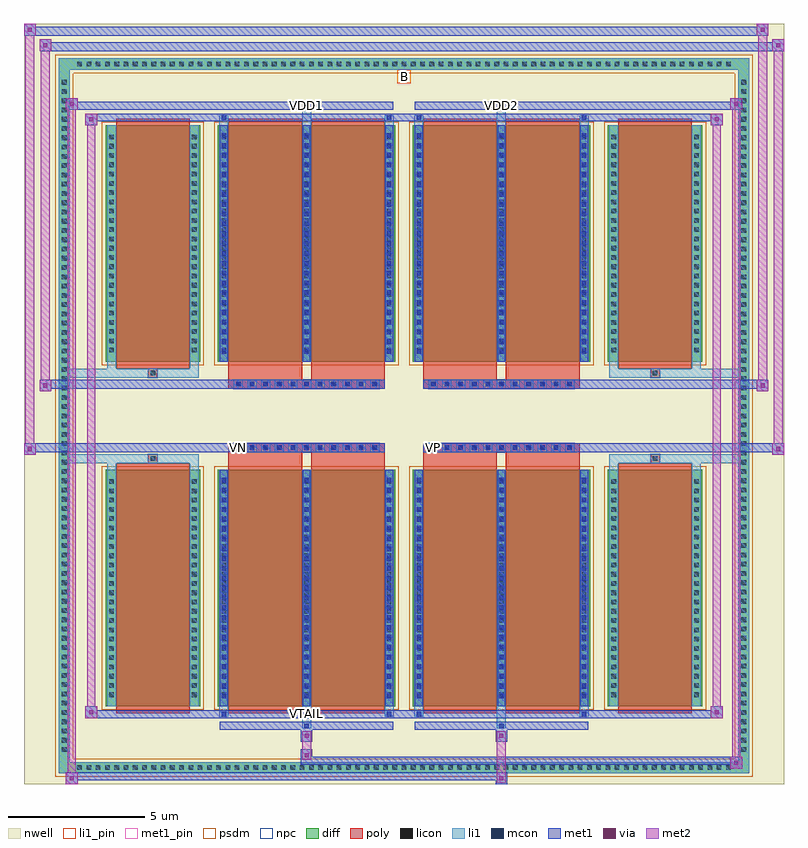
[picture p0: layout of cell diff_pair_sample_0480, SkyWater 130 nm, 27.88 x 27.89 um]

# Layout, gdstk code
import gdstk
lib = gdstk.Library(unit=1e-6, precision=5e-09)
def R(c, l, rs):  # rectangles x0, y0, x1, y1
    for r in rs: c.add(gdstk.rectangle(r[:2], r[2:], *l))
def A(c, l, x, y, w, h, nx, ny, dx, dy):  # array of equal rectangles
    R(c, l, [(x+i*dx, y+j*dy, x+i*dx+w, y+j*dy+h) for i in range(nx) for j in range(ny)])
def P(c, l, *ps):  # polygons
    for p in ps: c.add(gdstk.Polygon(p, *l))
nwell = (64, 20)
diff = (65, 20)
poly = (66, 20)
licon = (66, 44)
li1_pin = (67, 16)
li1 = (67, 20)
mcon = (67, 44)
met1_pin = (68, 16)
met1 = (68, 20)
via = (68, 44)
met2 = (69, 20)
psdm = (94, 20)
npc = (95, 20)

diff_pair_sample_0480 = lib.new_cell('diff_pair_sample_0480')
R(diff_pair_sample_0480, nwell, [(-13.94,-13.51,13.94,14.38), (-11.26,-11.7,-0.01,-0.8), (0.01,-11.7,11.26,-0.8), (-11.26,0.8,-0.01,11.7), (0.01,0.8,11.26,11.7)])
A(diff_pair_sample_0480, diff, -12.105, -13.11, 0.41, 0.41, 71, 2, 0.34, 25.81)
A(diff_pair_sample_0480, diff, -12.67, -12.445, 0.41, 0.41, 1, 73, 0, 0.34)
A(diff_pair_sample_0480, diff, 12.26, -12.445, 0.41, 0.41, 1, 73, 0, 0.34)
R(diff_pair_sample_0480, diff, [(-12.105,-13.11,12.105,-12.7), (-12.67,-12.445,-12.26,12.445), (12.26,-12.445,12.67,12.445), (-10.95,-10.655,-7.47,-1.985), (-6.83,-10.655,-0.32,-1.985), (0.32,-10.655,6.83,-1.985), (7.47,-10.655,10.95,-1.985), (-10.95,1.985,-7.47,10.655), (-6.83,1.985,-0.32,10.655), (0.32,1.985,6.83,10.655), (7.47,1.985,10.95,10.655), (-12.105,12.7,12.105,13.11)])
P(diff_pair_sample_0480, diff, [(12.67,13.11),(-12.67,13.11),(-12.67,-12.7),(-12.26,-12.7),(-12.26,12.7),(12.26,12.7),(12.26,-12.7),(-12.26,-12.7),(-12.67,-12.7),(-12.67,-13.11),(12.67,-13.11)])
A(diff_pair_sample_0480, poly, -6.24, -1.33, 0.33, 0.33, 11, 2, 0.5, 2.33)
A(diff_pair_sample_0480, poly, 0.91, -1.33, 0.33, 0.33, 11, 2, 0.5, 2.33)
R(diff_pair_sample_0480, poly, [(-10.56,-10.905,-7.86,-1.735), (-6.44,-10.905,-3.74,-1.735), (-3.41,-10.905,-0.71,-1.735), (0.71,-10.905,3.41,-1.735), (3.74,-10.905,6.44,-1.735), (7.86,-10.905,10.56,-1.735), (-9.375,-1.735,-9.045,-1.405), (-9.375,-1.735,-9.045,-1.405), (-6.44,-1.735,-3.74,-1.33), (-3.41,-1.735,-0.71,-1.33), (0.71,-1.735,3.41,-1.33), (3.74,-1.735,6.44,-1.33), (9.045,-1.735,9.375,-1.405), (9.045,-1.735,9.375,-1.405), (-6.44,-1.33,-0.71,-1), (0.71,-1.33,6.44,-1), (-6.44,1,-0.71,1.33), (0.71,1,6.44,1.33), (-6.44,1.33,-3.74,1.735), (-3.41,1.33,-0.71,1.735), (0.71,1.33,3.41,1.735), (3.74,1.33,6.44,1.735), (-9.375,1.405,-9.045,1.735), (-9.375,1.405,-9.045,1.735), (9.045,1.405,9.375,1.735), (9.045,1.405,9.375,1.735), (-10.56,1.735,-7.86,10.905), (-6.44,1.735,-3.74,10.905), (-3.41,1.735,-0.71,10.905), (0.71,1.735,3.41,10.905), (3.74,1.735,6.44,10.905), (7.86,1.735,10.56,10.905)])
A(diff_pair_sample_0480, licon, -11.985, -12.99, 0.17, 0.17, 71, 2, 0.34, 25.81)
A(diff_pair_sample_0480, licon, -12.55, -12.325, 0.17, 0.17, 1, 73, 0, 0.34)
A(diff_pair_sample_0480, licon, 12.38, -12.325, 0.17, 0.17, 1, 73, 0, 0.34)
A(diff_pair_sample_0480, licon, -10.81, -10.315, 0.17, 0.17, 1, 24, 0, 0.34)
A(diff_pair_sample_0480, licon, -7.78, -10.315, 0.17, 0.17, 1, 24, 0, 0.34)
A(diff_pair_sample_0480, licon, -6.69, -10.315, 0.17, 0.17, 3, 24, 3.03, 0.34)
A(diff_pair_sample_0480, licon, 0.46, -10.315, 0.17, 0.17, 3, 24, 3.03, 0.34)
A(diff_pair_sample_0480, licon, 7.61, -10.315, 0.17, 0.17, 1, 24, 0, 0.34)
A(diff_pair_sample_0480, licon, 10.64, -10.315, 0.17, 0.17, 1, 24, 0, 0.34)
A(diff_pair_sample_0480, licon, -6.16, -1.25, 0.17, 0.17, 11, 2, 0.5, 2.33)
A(diff_pair_sample_0480, licon, 0.99, -1.25, 0.17, 0.17, 11, 2, 0.5, 2.33)
A(diff_pair_sample_0480, licon, -10.81, 2.325, 0.17, 0.17, 1, 24, 0, 0.34)
A(diff_pair_sample_0480, licon, -7.78, 2.325, 0.17, 0.17, 1, 24, 0, 0.34)
A(diff_pair_sample_0480, licon, -6.69, 2.325, 0.17, 0.17, 3, 24, 3.03, 0.34)
A(diff_pair_sample_0480, licon, 0.46, 2.325, 0.17, 0.17, 3, 24, 3.03, 0.34)
A(diff_pair_sample_0480, licon, 7.61, 2.325, 0.17, 0.17, 1, 24, 0, 0.34)
A(diff_pair_sample_0480, licon, 10.64, 2.325, 0.17, 0.17, 1, 24, 0, 0.34)
R(diff_pair_sample_0480, licon, [(-9.295,-1.655,-9.125,-1.485), (9.125,-1.655,9.295,-1.485), (-9.295,1.485,-9.125,1.655), (9.125,1.485,9.295,1.655)])
R(diff_pair_sample_0480, li1_pin, [(-0.25,12.2,0.25,12.7)])
A(diff_pair_sample_0480, li1, -12.065, -13.07, 0.33, 0.33, 71, 2, 0.34, 25.81)
A(diff_pair_sample_0480, li1, -12.63, -12.405, 0.33, 0.33, 1, 73, 0, 0.34)
A(diff_pair_sample_0480, li1, 12.3, -12.405, 0.33, 0.33, 1, 73, 0, 0.34)
A(diff_pair_sample_0480, li1, -6.77, -10.655, 0.33, 8.67, 3, 2, 3.03, 12.64)
A(diff_pair_sample_0480, li1, 0.38, -10.655, 0.33, 8.67, 3, 2, 3.03, 12.64)
A(diff_pair_sample_0480, li1, -10.89, -10.395, 0.33, 0.33, 1, 24, 0, 0.34)
A(diff_pair_sample_0480, li1, -7.86, -10.395, 0.33, 0.33, 1, 24, 0, 0.34)
A(diff_pair_sample_0480, li1, -6.77, -10.395, 0.33, 0.33, 3, 24, 3.03, 0.34)
A(diff_pair_sample_0480, li1, 0.38, -10.395, 0.33, 0.33, 3, 24, 3.03, 0.34)
A(diff_pair_sample_0480, li1, 7.53, -10.395, 0.33, 0.33, 1, 24, 0, 0.34)
A(diff_pair_sample_0480, li1, 10.56, -10.395, 0.33, 0.33, 1, 24, 0, 0.34)
A(diff_pair_sample_0480, li1, -6.69, -10.365, 0.17, 0.17, 3, 23, 3.03, 0.36)
A(diff_pair_sample_0480, li1, -6.69, -10.365, 0.17, 8.09, 3, 2, 3.03, 12.64)
A(diff_pair_sample_0480, li1, 0.46, -10.365, 0.17, 0.17, 3, 23, 3.03, 0.36)
A(diff_pair_sample_0480, li1, 0.46, -10.365, 0.17, 8.09, 3, 2, 3.03, 12.64)
A(diff_pair_sample_0480, li1, -6.24, -1.33, 0.33, 0.33, 11, 2, 0.5, 2.33)
A(diff_pair_sample_0480, li1, 0.91, -1.33, 0.33, 0.33, 11, 2, 0.5, 2.33)
A(diff_pair_sample_0480, li1, -10.89, 2.245, 0.33, 0.33, 1, 24, 0, 0.34)
A(diff_pair_sample_0480, li1, -7.86, 2.245, 0.33, 0.33, 1, 24, 0, 0.34)
A(diff_pair_sample_0480, li1, -6.77, 2.245, 0.33, 0.33, 3, 24, 3.03, 0.34)
A(diff_pair_sample_0480, li1, 0.38, 2.245, 0.33, 0.33, 3, 24, 3.03, 0.34)
A(diff_pair_sample_0480, li1, 7.53, 2.245, 0.33, 0.33, 1, 24, 0, 0.34)
A(diff_pair_sample_0480, li1, 10.56, 2.245, 0.33, 0.33, 1, 24, 0, 0.34)
A(diff_pair_sample_0480, li1, -6.69, 2.275, 0.17, 0.17, 3, 23, 3.03, 0.36)
A(diff_pair_sample_0480, li1, 0.46, 2.275, 0.17, 0.17, 3, 23, 3.03, 0.36)
R(diff_pair_sample_0480, li1, [(-12.67,-13.11,-12.26,-12.7), (-12.67,-13.11,-12.26,-12.7), (-12.26,-13.11,12.26,-12.7), (12.26,-13.11,12.67,-12.7), (12.26,-13.11,12.67,-12.7), (-12.67,-12.7,-12.26,12.7), (12.26,-12.7,12.67,12.7), (-3.74,-11.46,-3.41,-10.655), (-3.66,-11.46,-3.49,-11.29), (3.41,-11.46,3.74,-10.655), (3.49,-11.46,3.66,-11.29), (-6.77,-11.03,-6.44,-10.655), (-6.69,-11.03,-6.52,-10.86), (-0.71,-11.03,-0.38,-10.655), (-0.63,-11.03,-0.46,-10.86), (0.38,-11.03,0.71,-10.655), (0.46,-11.03,0.63,-10.86), (6.44,-11.03,6.77,-10.655), (6.52,-11.03,6.69,-10.86), (-10.89,-10.655,-10.56,-1.985), (-7.86,-10.655,-7.53,-1.985), (7.53,-10.655,7.86,-1.985), (10.56,-10.655,10.89,-1.985), (-10.89,-1.985,-10.56,-1.405), (-7.86,-1.985,-7.53,-1.405), (7.53,-1.985,7.86,-1.405), (10.56,-1.985,10.89,-1.405), (-12.67,-1.735,-9.375,-1.405), (-10.89,-1.735,-9.375,-1.405), (-9.375,-1.735,-9.045,-1.405), (-9.045,-1.735,-7.53,-1.405), (7.53,-1.735,9.045,-1.405), (9.045,-1.735,9.375,-1.405), (9.045,-1.735,12.67,-1.405), (9.375,-1.735,10.89,-1.405), (-12.67,1.405,-9.375,1.735), (-10.89,1.405,-9.375,1.735), (-10.89,1.405,-10.56,1.985), (-9.375,1.405,-9.045,1.735), (-9.045,1.405,-7.53,1.735), (-7.86,1.405,-7.53,1.985), (7.53,1.405,9.045,1.735), (7.53,1.405,7.86,1.985), (9.045,1.405,9.375,1.735), (9.045,1.405,12.67,1.735), (9.375,1.405,10.89,1.735), (10.56,1.405,10.89,1.985), (-10.89,1.985,-10.56,10.655), (-7.86,1.985,-7.53,10.655), (7.53,1.985,7.86,10.655), (10.56,1.985,10.89,10.655), (-6.77,10.655,-6.44,11.03), (-3.74,10.655,-3.41,11.46), (-0.71,10.655,-0.38,11.03), (0.38,10.655,0.71,11.03), (3.41,10.655,3.74,11.46), (6.44,10.655,6.77,11.03), (-6.69,10.86,-6.52,11.03), (-0.63,10.86,-0.46,11.03), (0.46,10.86,0.63,11.03), (6.52,10.86,6.69,11.03), (-3.66,11.29,-3.49,11.46), (3.49,11.29,3.66,11.46), (-12.67,12.7,-12.26,13.11), (-12.67,12.7,-12.26,13.11), (-12.26,12.7,12.26,13.11), (12.26,12.7,12.67,13.11), (12.26,12.7,12.67,13.11)])
A(diff_pair_sample_0480, mcon, -6.69, -10.365, 0.17, 0.17, 3, 23, 3.03, 0.36)
A(diff_pair_sample_0480, mcon, 0.46, -10.365, 0.17, 0.17, 3, 23, 3.03, 0.36)
A(diff_pair_sample_0480, mcon, -6.16, -1.25, 0.17, 0.17, 11, 2, 0.5, 2.33)
A(diff_pair_sample_0480, mcon, 0.99, -1.25, 0.17, 0.17, 11, 2, 0.5, 2.33)
A(diff_pair_sample_0480, mcon, -6.69, 2.275, 0.17, 0.17, 3, 23, 3.03, 0.36)
A(diff_pair_sample_0480, mcon, 0.46, 2.275, 0.17, 0.17, 3, 23, 3.03, 0.36)
R(diff_pair_sample_0480, mcon, [(-3.66,-11.46,-3.49,-11.29), (3.49,-11.46,3.66,-11.29), (-6.69,-11.03,-6.52,-10.86), (-0.63,-11.03,-0.46,-10.86), (0.46,-11.03,0.63,-10.86), (6.52,-11.03,6.69,-10.86), (-6.69,10.86,-6.52,11.03), (-0.63,10.86,-0.46,11.03), (0.46,10.86,0.63,11.03), (6.52,10.86,6.69,11.03), (-3.66,11.29,-3.49,11.46), (3.49,11.29,3.66,11.46)])
R(diff_pair_sample_0480, met1_pin, [(-3.71,-11.07,-3.44,-10.8), (-6.21,-1.29,-5.94,-1.02), (0.94,-1.29,1.21,-1.02), (-3.71,11.25,-3.44,11.52), (3.44,11.25,3.71,11.52)])
A(diff_pair_sample_0480, met1, -6.75, -10.655, 0.29, 8.67, 3, 2, 3.03, 12.64)
A(diff_pair_sample_0480, met1, 0.4, -10.655, 0.29, 8.67, 3, 2, 3.03, 12.64)
A(diff_pair_sample_0480, met1, -6.75, -10.425, 0.29, 0.29, 3, 23, 3.03, 0.36)
A(diff_pair_sample_0480, met1, 0.4, -10.425, 0.29, 0.29, 3, 23, 3.03, 0.36)
A(diff_pair_sample_0480, met1, -6.22, -1.31, 0.29, 0.29, 11, 2, 0.5, 2.33)
A(diff_pair_sample_0480, met1, 0.93, -1.31, 0.29, 0.29, 11, 2, 0.5, 2.33)
A(diff_pair_sample_0480, met1, -6.75, 2.215, 0.29, 0.29, 3, 23, 3.03, 0.36)
A(diff_pair_sample_0480, met1, 0.4, 2.215, 0.29, 0.29, 3, 23, 3.03, 0.36)
R(diff_pair_sample_0480, met1, [(-12.4,-13.51,-11.97,-13.08), (3.36,-13.51,3.79,-13.08), (-12.4,-13.37,3.79,-13.08), (11.97,-12.94,12.4,-12.51), (-3.79,-12.8,12.4,-12.51), (-3.79,-12.66,-3.36,-12.23), (-3.79,-11.95,-3.36,-11.52), (3.36,-11.95,3.79,-11.52), (-6.75,-11.52,-0.4,-11.23), (-3.72,-11.52,-3.43,-11.23), (0.4,-11.52,6.75,-11.23), (3.43,-11.52,3.72,-11.23), (-11.69,-11.09,-11.26,-10.66), (-11.69,-11.09,-6.75,-10.8), (-6.75,-11.09,-6.46,-10.8), (-6.75,-11.09,-0.4,-10.8), (-0.69,-11.09,-0.4,-10.8), (-0.4,-11.09,0.4,-10.8), (0.4,-11.09,0.69,-10.8), (0.4,-11.09,6.75,-10.8), (6.46,-11.09,6.75,-10.8), (6.75,-11.09,11.69,-10.8), (11.26,-11.09,11.69,-10.66), (-13.94,-1.43,-13.51,-1), (13.51,-1.43,13.94,-1), (-13.94,-1.33,-0.71,-1), (-6.44,-1.33,-0.71,-1), (0.71,-1.33,6.44,-1), (0.71,-1.33,13.94,-1), (-13.37,0.9,-12.94,1.33), (12.94,0.9,13.37,1.33), (-13.37,1,-6.44,1.33), (-6.44,1,-0.71,1.33), (0.71,1,6.44,1.33), (6.44,1,13.37,1.33), (-11.69,10.66,-11.26,11.09), (11.26,10.66,11.69,11.09), (-11.69,10.8,-6.75,11.09), (-6.75,10.8,-6.46,11.09), (-6.75,10.8,-0.4,11.09), (-0.69,10.8,-0.4,11.09), (-0.4,10.8,0.4,11.09), (0.4,10.8,0.69,11.09), (0.4,10.8,6.75,11.09), (6.46,10.8,6.75,11.09), (6.75,10.8,11.69,11.09), (-12.4,11.23,-11.97,11.66), (-12.4,11.23,-6.75,11.52), (-6.75,11.23,-0.4,11.52), (-3.72,11.23,-3.43,11.52), (0.4,11.23,6.75,11.52), (3.43,11.23,3.72,11.52), (6.75,11.23,12.4,11.52), (11.97,11.23,12.4,11.66), (-13.37,13.38,-12.94,13.81), (-13.37,13.38,-11.26,13.71), (-11.26,13.38,11.26,13.71), (11.26,13.38,13.94,13.71), (13.51,13.38,13.94,13.81), (-13.94,13.95,-13.51,14.38), (-13.94,13.95,-11.26,14.28), (-11.26,13.95,11.26,14.28), (11.26,13.95,13.37,14.28), (12.94,13.95,13.37,14.38)])
R(diff_pair_sample_0480, via, [(-12.26,-13.37,-12.11,-13.22), (3.5,-13.37,3.65,-13.22), (12.11,-12.8,12.26,-12.65), (-3.65,-12.52,-3.5,-12.37), (-3.65,-11.81,-3.5,-11.66), (3.5,-11.81,3.65,-11.66), (-11.55,-10.95,-11.4,-10.8), (11.4,-10.95,11.55,-10.8), (-13.8,-1.29,-13.65,-1.14), (13.65,-1.29,13.8,-1.14), (-13.23,1.04,-13.08,1.19), (13.08,1.04,13.23,1.19), (-11.55,10.8,-11.4,10.95), (11.4,10.8,11.55,10.95), (-12.26,11.37,-12.11,11.52), (12.11,11.37,12.26,11.52), (-13.23,13.52,-13.08,13.67), (13.65,13.52,13.8,13.67), (-13.8,14.09,-13.65,14.24), (13.08,14.09,13.23,14.24)])
R(diff_pair_sample_0480, met2, [(-12.4,-13.51,-11.97,-13.08), (-12.33,-13.51,-12.04,11.66), (-12.04,-13.51,-11.97,-13.08), (-12.35,-13.46,-12.02,-13.13), (3.41,-13.46,3.74,-13.13), (3.41,-13.13,3.74,-11.9), (11.97,-12.94,12.4,-12.51), (12.04,-12.94,12.33,11.66), (12.33,-12.94,12.4,-12.51), (12.02,-12.89,12.35,-12.56), (-3.74,-12.61,-3.41,-12.28), (-3.74,-12.28,-3.41,-11.9), (-3.74,-11.9,-3.41,-11.57), (3.41,-11.9,3.74,-11.57), (-11.69,-11.09,-11.26,-10.66), (-11.62,-11.09,-11.33,11.09), (-11.33,-11.09,-11.26,-10.66), (11.26,-11.09,11.69,-10.66), (11.33,-11.09,11.62,11.09), (11.62,-11.09,11.69,-10.66), (-11.64,-11.04,-11.31,-10.71), (11.31,-11.04,11.64,-10.71), (-13.94,-1.43,-13.51,-1), (-13.89,-1.43,-13.56,14.38), (-13.56,-1.43,-13.51,-1), (13.51,-1.43,13.94,-1), (13.56,-1.43,13.89,13.81), (13.89,-1.43,13.94,-1), (-13.89,-1.38,-13.56,-1.05), (13.56,-1.38,13.89,-1.05), (-13.37,0.9,-12.94,1.33), (-13.32,0.9,-12.99,13.81), (-12.99,0.9,-12.94,1.33), (12.94,0.9,13.37,1.33), (12.99,0.9,13.32,14.38), (13.32,0.9,13.37,1.33), (-13.32,0.95,-12.99,1.28), (12.99,0.95,13.32,1.28), (-11.69,10.66,-11.26,11.09), (-11.33,10.66,-11.26,11.09), (11.26,10.66,11.69,11.09), (11.62,10.66,11.69,11.09), (-11.64,10.71,-11.31,11.04), (11.31,10.71,11.64,11.04), (-12.4,11.23,-11.97,11.66), (-12.04,11.23,-11.97,11.66), (11.97,11.23,12.4,11.66), (12.33,11.23,12.4,11.66), (-12.35,11.28,-12.02,11.61), (12.02,11.28,12.35,11.61), (-13.37,13.38,-12.94,13.81), (-12.99,13.38,-12.94,13.81), (13.51,13.38,13.94,13.81), (13.89,13.38,13.94,13.81), (-13.32,13.43,-12.99,13.76), (13.56,13.43,13.89,13.76), (-13.94,13.95,-13.51,14.38), (-13.56,13.95,-13.51,14.38), (12.94,13.95,13.37,14.38), (13.32,13.95,13.37,14.38), (-13.89,14,-13.56,14.33), (12.99,14,13.32,14.33)])
R(diff_pair_sample_0480, psdm, [(-11.08,-10.785,-7.34,-1.855), (-6.96,-10.785,-0.19,-1.855), (0.19,-10.785,6.96,-1.855), (7.34,-10.785,11.08,-1.855), (-11.08,1.855,-7.34,10.785), (-6.96,1.855,-0.19,10.785), (0.19,1.855,6.96,10.785), (7.34,1.855,11.08,10.785)])
P(diff_pair_sample_0480, psdm, [(12.8,13.24),(-12.8,13.24),(-12.8,-12.57),(-12.13,-12.57),(-12.13,12.57),(12.13,12.57),(12.13,-12.57),(-12.13,-12.57),(-12.8,-12.57),(-12.8,-13.24),(12.8,-13.24)])
A(diff_pair_sample_0480, npc, -6.26, -1.35, 0.37, 0.37, 11, 2, 0.5, 2.33)
A(diff_pair_sample_0480, npc, 0.89, -1.35, 0.37, 0.37, 11, 2, 0.5, 2.33)
R(diff_pair_sample_0480, npc, [(-9.395,-1.755,-9.025,-1.385), (9.025,-1.755,9.395,-1.385), (-6.26,-1.35,-5.39,-0.98), (-6.26,-1.35,-5.39,-0.98), (-5.76,-1.35,-4.89,-0.98), (-5.76,-1.35,-4.89,-0.98), (-5.26,-1.35,-4.39,-0.98), (-5.26,-1.35,-4.39,-0.98), (-4.76,-1.35,-3.89,-0.98), (-4.76,-1.35,-3.89,-0.98), (-4.26,-1.35,-3.39,-0.98), (-4.26,-1.35,-3.39,-0.98), (-3.76,-1.35,-2.89,-0.98), (-3.76,-1.35,-2.89,-0.98), (-3.26,-1.35,-2.39,-0.98), (-3.26,-1.35,-2.39,-0.98), (-2.76,-1.35,-1.89,-0.98), (-2.76,-1.35,-1.89,-0.98), (-2.26,-1.35,-1.39,-0.98), (-2.26,-1.35,-1.39,-0.98), (-1.76,-1.35,-0.89,-0.98), (-1.76,-1.35,-0.89,-0.98), (0.89,-1.35,1.76,-0.98), (0.89,-1.35,1.76,-0.98), (1.39,-1.35,2.26,-0.98), (1.39,-1.35,2.26,-0.98), (1.89,-1.35,2.76,-0.98), (1.89,-1.35,2.76,-0.98), (2.39,-1.35,3.26,-0.98), (2.39,-1.35,3.26,-0.98), (2.89,-1.35,3.76,-0.98), (2.89,-1.35,3.76,-0.98), (3.39,-1.35,4.26,-0.98), (3.39,-1.35,4.26,-0.98), (3.89,-1.35,4.76,-0.98), (3.89,-1.35,4.76,-0.98), (4.39,-1.35,5.26,-0.98), (4.39,-1.35,5.26,-0.98), (4.89,-1.35,5.76,-0.98), (4.89,-1.35,5.76,-0.98), (5.39,-1.35,6.26,-0.98), (5.39,-1.35,6.26,-0.98), (-6.26,0.98,-5.39,1.35), (-6.26,0.98,-5.39,1.35), (-5.76,0.98,-4.89,1.35), (-5.76,0.98,-4.89,1.35), (-5.26,0.98,-4.39,1.35), (-5.26,0.98,-4.39,1.35), (-4.76,0.98,-3.89,1.35), (-4.76,0.98,-3.89,1.35), (-4.26,0.98,-3.39,1.35), (-4.26,0.98,-3.39,1.35), (-3.76,0.98,-2.89,1.35), (-3.76,0.98,-2.89,1.35), (-3.26,0.98,-2.39,1.35), (-3.26,0.98,-2.39,1.35), (-2.76,0.98,-1.89,1.35), (-2.76,0.98,-1.89,1.35), (-2.26,0.98,-1.39,1.35), (-2.26,0.98,-1.39,1.35), (-1.76,0.98,-0.89,1.35), (-1.76,0.98,-0.89,1.35), (0.89,0.98,1.76,1.35), (0.89,0.98,1.76,1.35), (1.39,0.98,2.26,1.35), (1.39,0.98,2.26,1.35), (1.89,0.98,2.76,1.35), (1.89,0.98,2.76,1.35), (2.39,0.98,3.26,1.35), (2.39,0.98,3.26,1.35), (2.89,0.98,3.76,1.35), (2.89,0.98,3.76,1.35), (3.39,0.98,4.26,1.35), (3.39,0.98,4.26,1.35), (3.89,0.98,4.76,1.35), (3.89,0.98,4.76,1.35), (4.39,0.98,5.26,1.35), (4.39,0.98,5.26,1.35), (4.89,0.98,5.76,1.35), (4.89,0.98,5.76,1.35), (5.39,0.98,6.26,1.35), (5.39,0.98,6.26,1.35), (-9.395,1.385,-9.025,1.755), (9.025,1.385,9.395,1.755)])
diff_pair_sample_0480.add(gdstk.Label('VTAIL', (-3.575,-10.935), layer=68, texttype=5))
diff_pair_sample_0480.add(gdstk.Label('VN', (-6.075,-1.155), layer=68, texttype=5))
diff_pair_sample_0480.add(gdstk.Label('VP', (1.075,-1.155), layer=68, texttype=5))
diff_pair_sample_0480.add(gdstk.Label('B', (0,12.45), layer=67, texttype=5))
diff_pair_sample_0480.add(gdstk.Label('VDD2', (3.575,11.385), layer=68, texttype=5))
diff_pair_sample_0480.add(gdstk.Label('VDD1', (-3.575,11.385), layer=68, texttype=5))

lib.write_gds('diff_pair_sample_0480.gds')
